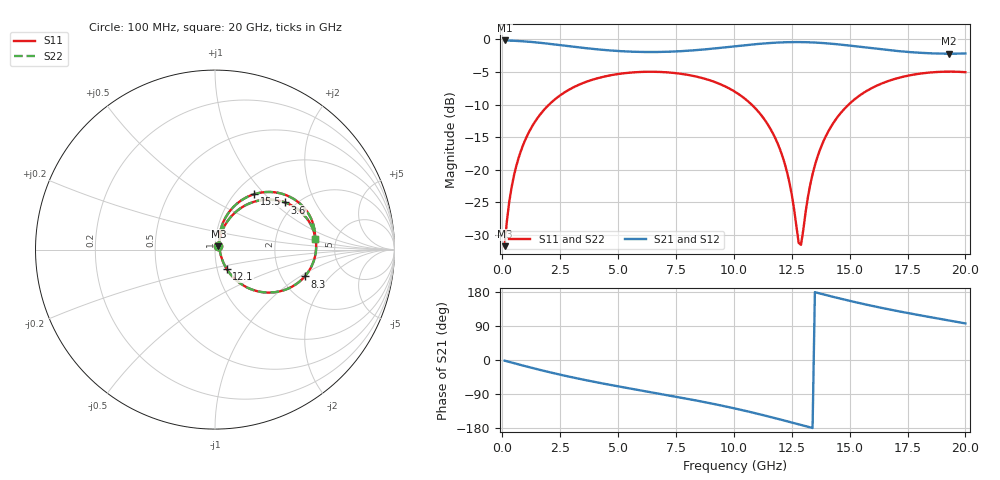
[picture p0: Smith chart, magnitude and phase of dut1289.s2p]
! Touchstone file exported from HFSS 2026.1.0
!  File:  C:/ffzhzh/LocalFiles/Ansys_Project_Files/temp_train_TSV_RDL_1289_1783331618_5512.aedt
!  Generated:  06:07:37 PM Jul  6, 2026
!  Design:  TSV_RDL
!  Project:  temp_train_TSV_RDL_1289_1783331618_5512
! Variables:
!  h_bsmrdl = 5.74um
!  h_ox = 20um
!  h_rdl = 5um
!  h_sub = 84.54um
!  h_tmrdl = 5.32um
!  h_tsv = 84.54um
!  h_via = 3um
!  l_bsmrdl = 555.32um
!  l_sub = 4335.31um
!  l_tmrdl = 539.64um
!  m_sub = 200um
!  pitch = 53.09um
!  r_tsv = 9.79um
!  s_tmrdl = 10um
!  w_bsmrdl = 26.1um
!  w_sub = 500um
!  w_tmrdl = 10.83um
!  x_tsv_center1 = 545.055um
!  x_tsv_center2 = 1126.475um
!  x_tsv_center3 = 1676.945um
!  x_tsv_center4 = 2258.365um
!  x_tsv_center5 = 2808.835um
!  x_tsv_center6 = 3390.255um
# GHz S MA R 50.000000
! Terminal data exported
! Port[1] = TM_RDL1_1_T1
! Port[2] = TM_RDL5_1_T1
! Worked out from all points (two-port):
!   200 points, 100 MHz to 20 GHz, reference 50 ohm
!   highest |S21| = -0.16 dB at 100 MHz (marker M1); lowest = -2.2 dB at 19.3 GHz (marker M2)
!   |S21| within 3 dB of the highest: start of sweep to end of sweep
!   lowest |S11| = -31.8 dB at 100 MHz (marker M3), VSWR 1.05, Z = 51.9 + j1.83 ohm
!   |S11| at or under -10 dB: start of sweep to 2.023 GHz; 10.77 GHz to 14.96 GHz (4.194 GHz wide, 32.6 % of centre)
!   |S22| runs from -31.8 to -5.0 dB; largest |S21 - S12| = 1.5e-14
!   S11 on the Smith chart (normalised r, x): 100 MHz: 1.04, +0.04; 3.6 GHz: 1.77, +1.19; 8.3 GHz: 2.67, -1.10; 12.1 GHz: 1.11, -0.24; 15.5 GHz: 1.21, +0.87; 20 GHz: 3.44, +0.59
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0.1  0.02585 42.8  0.9814 -1.7  0.9814 -1.7  0.02585 42.8
! Gamma 0 0 0 0
! Port Impedance 50 0 50 0
0.3  0.0565 64.9  0.9792 -5.0  0.9792 -5.0  0.0565 64.9
0.5  0.08943 68.7  0.9761 -8.3  0.9761 -8.3  0.08943 68.7
1.1  0.1862 65.4  0.961 -17.9  0.961 -17.9  0.1862 65.4
2.1  0.3258 52.8  0.9217 -33.1  0.9217 -33.1  0.3258 52.8
3.5  0.4633 35.1  0.8607 -51.9  0.8607 -51.9  0.4633 35.1
3.6  0.4706 33.9  0.8568 -53.1  0.8568 -53.1  0.4706 33.9
5.2  0.5482 16.0  0.8106 -71.7  0.8106 -71.7  0.5482 16.0
6.8  0.5626 -0.7  0.8008 -89.1  0.8008 -89.1  0.5625 -0.7
8.3  0.522 -16.7  0.8253 -105.9  0.8253 -105.9  0.522 -16.7
10.1  0.3912 -37.7  0.8871 -128.6  0.8871 -128.6  0.3912 -37.7
11.3  0.2458 -52.4  0.9305 -146.0  0.9305 -146.0  0.2458 -52.4
12.1  0.1266 -58.8  0.9492 -158.5  0.9492 -158.5  0.1266 -58.8
12.5  0.06455 -53.4  0.9533 -164.9  0.9533 -164.9  0.06457 -53.3
12.8  0.0274 -12.4  0.9538 -169.8  0.9538 -169.8  0.0275 -12.3
12.9  0.02644 21.7  0.9534 -171.4  0.9534 -171.4  0.02656 21.7
13.4  0.09236 73.1  0.9478 -179.4  0.9478 -179.4  0.09241 73.0
14.2  0.2142 70.1  0.927 168.0  0.927 168.0  0.2142 70.1
15.5  0.378 54.8  0.8751 149.1  0.8751 149.1  0.3781 54.7
16.7  0.4811 40.6  0.8268 133.6  0.8268 133.6  0.4811 40.6
19.3  0.5655 13.2  0.7767 104.2  0.7767 104.2  0.5655 13.1
20  0.5602 6.0  0.78 96.5  0.78 96.5  0.5603 6.0
